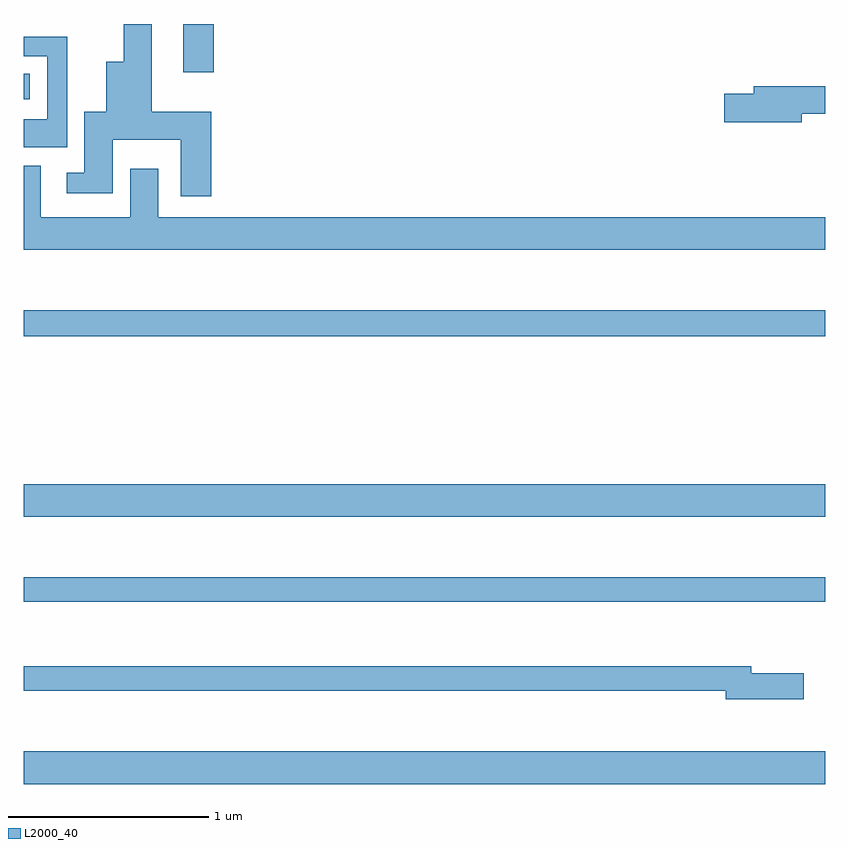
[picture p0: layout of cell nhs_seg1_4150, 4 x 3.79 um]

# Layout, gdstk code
import gdstk
lib = gdstk.Library(unit=1e-6, precision=1e-09)
def R(c, l, rs):  # rectangles x0, y0, x1, y1
    for r in rs: c.add(gdstk.rectangle(r[:2], r[2:], *l))
def P(c, l, *ps):  # polygons
    for p in ps: c.add(gdstk.Polygon(p, *l))
L2000_40 = (2000, 40)

nhs_seg1_4150 = lib.new_cell('nhs_seg1_4150')
R(nhs_seg1_4150, L2000_40, [(337,542.408,341,542.572), (337,543.318,341,543.439), (337,543.74,341,543.904), (337,544.642,341,544.771), (337,545.823,337.03,545.95), (337.796,545.958,337.949,546.199)])
P(nhs_seg1_4150, L2000_40, [(337.937,545.761),(337.639,545.761),(337.639,546.199),(337.499,546.199),(337.499,546.01),(337.412,546.01),(337.412,545.761),(337.304,545.761),(337.304,545.458),(337.215,545.458),(337.215,545.354),(337.444,545.354),(337.444,545.621),(337.784,545.621),(337.784,545.34),(337.937,545.34)],
  [(337.217,546.135),(337,546.135),(337,546.039),(337.119,546.039),(337.119,545.725),(337,545.725),(337,545.585),(337.217,545.585)],
  [(340.882,545.752),(341,545.752),(341,545.888),(340.643,545.888),(340.643,545.852),(340.494,545.852),(340.494,545.71),(340.882,545.71)],
  [(341,545.236),(337.672,545.236),(337.672,545.476),(337.532,545.476),(337.532,545.236),(337.087,545.236),(337.087,545.491),(337,545.491),(337,545.072),(341,545.072)],
  [(340.891,542.961),(340.63,542.961),(340.63,542.995),(337,542.995),(337,542.874),(340.502,542.874),(340.502,542.831),(340.891,542.831)])

lib.write_gds('nhs_seg1_4150.gds')
